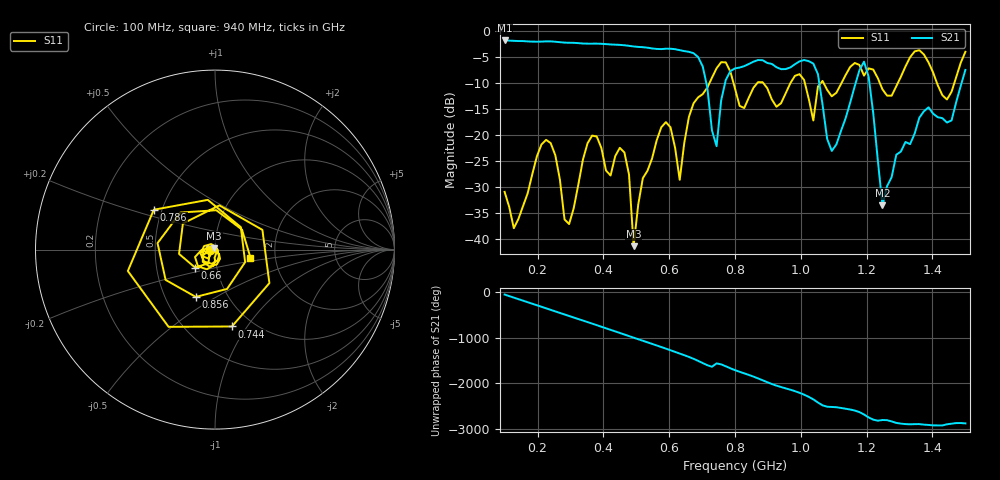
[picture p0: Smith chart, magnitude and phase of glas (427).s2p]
! NanoVNA-App
! Date: 2025-09-25 15:58:48
! Start: 100MHz Stop: 1,5GHz Points: 101
! S-Parameter data: F S11 S21 S12 S22
# Hz S RI R 50
!  Frequency  S11_Real  S11_Imag  S21_Real  S21_Imag  S12_Real  S12_Imag  S22_Real  S22_Imag
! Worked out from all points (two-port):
!   101 points, 100 MHz to 1.5 GHz, reference 50 ohm
!   highest |S21| = -1.80 dB at 100 MHz (marker M1); lowest = -33.5 dB at 1.248 GHz (marker M2)
!   |S21| within 3 dB of the highest: start of sweep to 684.2 MHz
!   lowest |S11| = -41.4 dB at 492 MHz (marker M3), VSWR 1.02, Z = 49.4 + j0.637 ohm
!   |S11| at or under -10 dB: start of sweep to 722.4 MHz; 795.4 MHz to 867.7 MHz (72.25 MHz wide, 8.69 % of centre); 886 MHz to 968.4 MHz (82.47 MHz wide, 8.89 % of centre) (the widest 3 of 7)
!   S12 and S22 are empty: the file has one direction only
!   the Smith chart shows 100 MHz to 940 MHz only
!   S11 on the Smith chart (normalised r, x): 100 MHz: 0.95, -0.01; 660 MHz: 0.79, -0.16; 744 MHz: 0.80, -0.85; 786 MHz: 0.45, +0.24; 856 MHz: 0.71, -0.41; 940 MHz: 1.48, -0.14
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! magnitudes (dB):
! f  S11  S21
! 100 MHz  -30.9  -1.8
! 128 MHz  -37.9  -1.9
! 226 MHz  -20.9  -2.0
! 296 MHz  -37.1  -2.2
! 338 MHz  -24.7  -2.4
! 464 MHz  -23.4  -2.7
! 492 MHz  -41.4  -3.0
! 576 MHz  -18.5  -3.5
! 632 MHz  -28.6  -3.7
! 660 MHz  -16.5  -4.0
! 744 MHz  -7.2  -22.1
! 786 MHz  -7.8  -7.7
! 800 MHz  -11.1  -7.2
! 856 MHz  -10.9  -5.9
! 940 MHz  -13.9  -7.3
! 996 MHz  -8.3  -5.8
! 1.038 GHz  -17.2  -6.2
! 1.094 GHz  -12.5  -23.1
! 1.192 GHz  -8.6  -5.9
! 1.248 GHz  -11.2  -33.5
! 1.276 GHz  -12.4  -28.1
! 1.5 GHz  -4.0  -7.5
